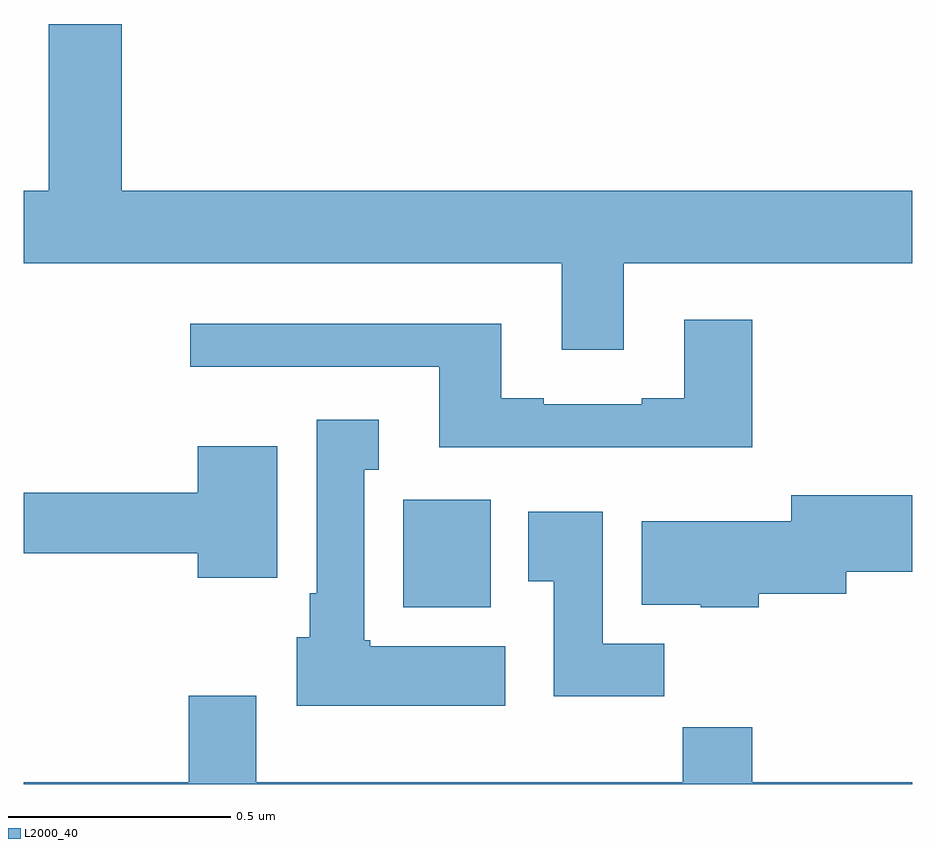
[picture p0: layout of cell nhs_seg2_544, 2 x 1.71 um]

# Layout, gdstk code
import gdstk
lib = gdstk.Library(unit=1e-6, precision=1e-09)
def R(c, l, rs):  # rectangles x0, y0, x1, y1
    for r in rs: c.add(gdstk.rectangle(r[:2], r[2:], *l))
def P(c, l, *ps):  # polygons
    for p in ps: c.add(gdstk.Polygon(p, *l))
L2000_40 = (2000, 40)

nhs_seg2_544 = lib.new_cell('nhs_seg2_544')
R(nhs_seg2_544, L2000_40, [(117.854,644.198,118.051,644.44)])
P(nhs_seg2_544, L2000_40, [(118.351,644.972),(119,644.972),(119,645.136),(117.22,645.136),(117.22,645.511),(117.056,645.511),(117.056,645.136),(117,645.136),(117,644.972),(118.211,644.972),(118.211,644.778),(118.351,644.778)],
  [(118.64,644.845),(118.487,644.845),(118.487,644.668),(118.391,644.668),(118.391,644.655),(118.171,644.655),(118.171,644.668),(118.075,644.668),(118.075,644.836),(117.375,644.836),(117.375,644.739),(117.935,644.739),(117.935,644.558),(118.64,644.558)],
  [(118.084,644.11),(117.78,644.11),(117.78,644.124),(117.766,644.124),(117.766,644.507),(117.799,644.507),(117.799,644.62),(117.659,644.62),(117.659,644.23),(117.644,644.23),(117.644,644.13),(117.614,644.13),(117.614,643.976),(118.084,643.976)],
  [(117.571,644.56),(117.392,644.56),(117.392,644.456),(117,644.456),(117,644.32),(117.392,644.32),(117.392,644.264),(117.571,644.264)],
  [(118.655,644.228),(118.852,644.228),(118.852,644.278),(119,644.278),(119,644.45),(118.728,644.45),(118.728,644.392),(118.391,644.392),(118.391,644.204),(118.524,644.204),(118.524,644.198),(118.655,644.198)],
  [(118.442,644.116),(118.303,644.116),(118.303,644.413),(118.136,644.413),(118.136,644.257),(118.193,644.257),(118.193,643.998),(118.442,643.998)],
  [(119,643.804),(118.64,643.804),(118.64,643.928),(118.483,643.928),(118.483,643.804),(117.523,643.804),(117.523,643.999),(117.371,643.999),(117.371,643.804),(117,643.804),(117,643.8),(119,643.8)])

lib.write_gds('nhs_seg2_544.gds')
